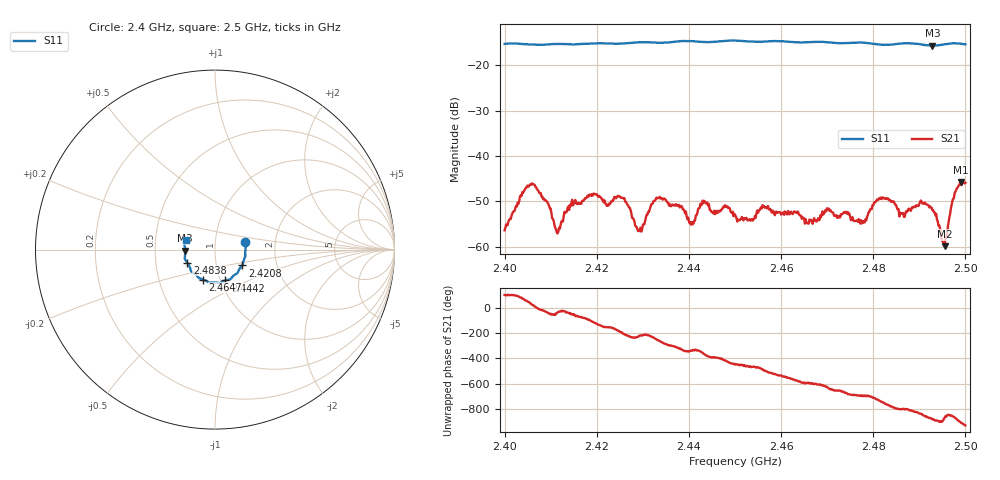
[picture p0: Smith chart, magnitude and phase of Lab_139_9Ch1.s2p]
# Hz S RI R 50
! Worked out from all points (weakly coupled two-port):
!   601 points, 2.4 GHz to 2.5 GHz, reference 50 ohm
!   highest |S21| = -45.75 dB at 2.499 GHz (marker M1); lowest = -59.9 dB at 2.4955 GHz (marker M2)
!   lowest |S11| = -15.6 dB at 2.4928 GHz (marker M3), VSWR 1.40, Z = 35.8 - j0.389 ohm
!   |S11| at or under -10 dB: start of sweep to end of sweep
!   S12 and S22 are empty: the file has one direction only
!   S11 on the Smith chart (normalised r, x): 2.4 GHz: 1.40, +0.12; 2.4208 GHz: 1.33, -0.24; 2.4442 GHz: 1.05, -0.37; 2.4647 GHz: 0.83, -0.29; 2.4838 GHz: 0.73, -0.11; 2.5 GHz: 0.72, +0.08
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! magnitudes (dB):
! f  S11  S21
! 2.4 GHz  -15.2  -56.4
! 2.4055 GHz  -15.4  -46.4
! 2.4115 GHz  -15.3  -57.1
! 2.4167 GHz  -15.2  -50.5
! 2.4208 GHz  -15.1  -49.1
! 2.4255 GHz  -15.2  -49.2
! 2.4293 GHz  -14.9  -56.4
! 2.4333 GHz  -15.0  -49.3
! 2.4405 GHz  -14.6  -55.2
! 2.4442 GHz  -14.8  -51.0
! 2.45 GHz  -14.5  -53.0
! 2.4647 GHz  -14.9  -53.6
! 2.4667 GHz  -14.8  -54.3
! 2.4702 GHz  -14.9  -51.6
! 2.4777 GHz  -15.0  -54.4
! 2.4833 GHz  -15.4  -49.7
! 2.4838 GHz  -15.4  -50.1
! 2.4928 GHz  -15.6  -52.0
! 2.4955 GHz  -15.3  -59.9
! 2.4975 GHz  -15.1  -49.3
! 2.499 GHz  -15.2  -45.8
! 2.5 GHz  -15.3  -45.9
